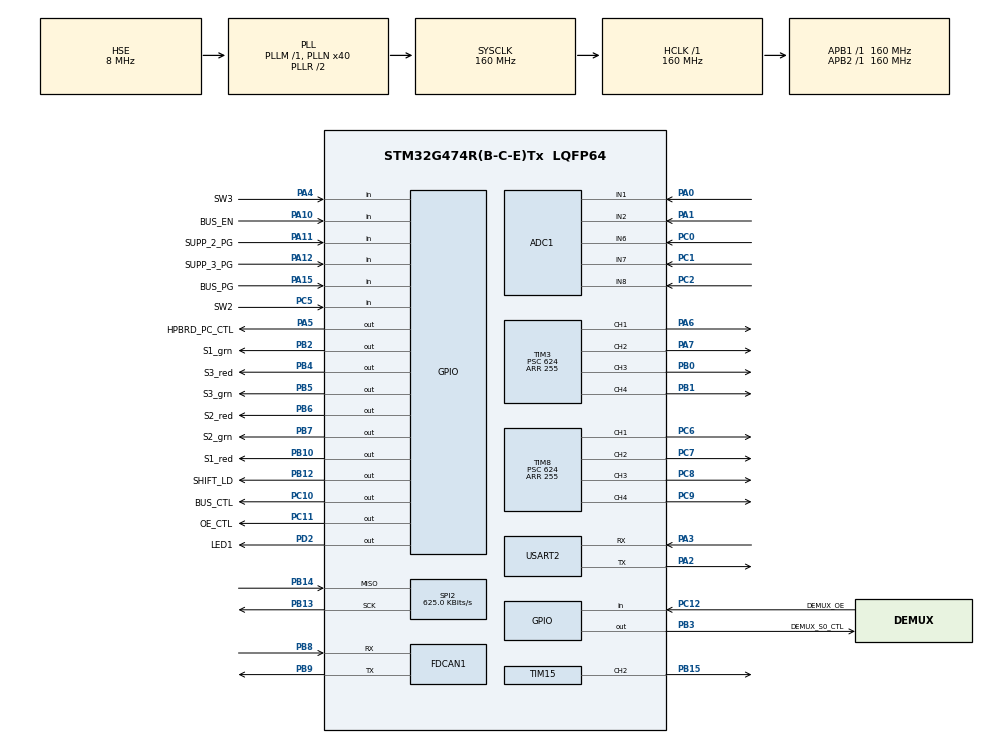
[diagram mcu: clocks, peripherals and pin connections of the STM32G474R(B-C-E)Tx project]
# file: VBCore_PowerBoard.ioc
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ADC1.Channel-0\#ChannelRegularConversion=ADC_CHANNEL_1
ADC1.Channel-1\#ChannelRegularConversion=ADC_CHANNEL_2
ADC1.Channel-2\#ChannelRegularConversion=ADC_CHANNEL_6
ADC1.Channel-3\#ChannelRegularConversion=ADC_CHANNEL_7
ADC1.Channel-4\#ChannelRegularConversion=ADC_CHANNEL_8
ADC1.ClockPrescaler=ADC_CLOCK_ASYNC_DIV128
ADC1.ContinuousConvMode=ENABLE
ADC1.DMAContinuousRequests=ENABLE
ADC1.EOCSelection=ADC_EOC_SEQ_CONV
ADC1.NbrOfConversion=5
ADC1.NbrOfConversionFlag=1
ADC1.OffsetNumber-0\#ChannelRegularConversion=ADC_OFFSET_NONE
ADC1.OffsetNumber-1\#ChannelRegularConversion=ADC_OFFSET_NONE
ADC1.OffsetNumber-2\#ChannelRegularConversion=ADC_OFFSET_NONE
ADC1.OffsetNumber-3\#ChannelRegularConversion=ADC_OFFSET_NONE
ADC1.OffsetNumber-4\#ChannelRegularConversion=ADC_OFFSET_NONE
ADC1.Overrun=ADC_OVR_DATA_OVERWRITTEN
ADC1.OversamplingMode=DISABLE
ADC1.Rank-0\#ChannelRegularConversion=1
ADC1.Rank-1\#ChannelRegularConversion=2
ADC1.Rank-2\#ChannelRegularConversion=3
ADC1.Rank-3\#ChannelRegularConversion=4
ADC1.Rank-4\#ChannelRegularConversion=5
ADC1.SamplingTime-0\#ChannelRegularConversion=ADC_SAMPLETIME_24CYCLES_5
ADC1.SamplingTime-1\#ChannelRegularConversion=ADC_SAMPLETIME_24CYCLES_5
ADC1.SamplingTime-2\#ChannelRegularConversion=ADC_SAMPLETIME_24CYCLES_5
ADC1.SamplingTime-3\#ChannelRegularConversion=ADC_SAMPLETIME_24CYCLES_5
ADC1.SamplingTime-4\#ChannelRegularConversion=ADC_SAMPLETIME_24CYCLES_5
ADC1.master=1
Dma.ADC1.0.Direction=DMA_PERIPH_TO_MEMORY
Dma.ADC1.0.EventEnable=DISABLE
Dma.ADC1.0.Instance=DMA1_Channel1
Dma.ADC1.0.MemDataAlignment=DMA_MDATAALIGN_WORD
Dma.ADC1.0.MemInc=DMA_MINC_ENABLE
Dma.ADC1.0.Mode=DMA_CIRCULAR
Dma.ADC1.0.PeriphDataAlignment=DMA_PDATAALIGN_WORD
Dma.ADC1.0.PeriphInc=DMA_PINC_DISABLE
Dma.ADC1.0.Polarity=HAL_DMAMUX_REQ_GEN_RISING
Dma.ADC1.0.Priority=DMA_PRIORITY_LOW
Dma.ADC1.0.RequestNumber=1
Dma.ADC1.0.SignalID=NONE
Dma.ADC1.0.SyncEnable=DISABLE
Dma.ADC1.0.SyncPolarity=HAL_DMAMUX_SYNC_NO_EVENT
Dma.ADC1.0.SyncRequestNumber=1
Dma.ADC1.0.SyncSignalID=NONE
Dma.Request0=ADC1
Dma.Request1=USART2_TX
Dma.Request2=USART2_RX
Dma.USART2_RX.2.Direction=DMA_PERIPH_TO_MEMORY
Dma.USART2_RX.2.EventEnable=DISABLE
Dma.USART2_RX.2.Instance=DMA1_Channel3
Dma.USART2_RX.2.MemDataAlignment=DMA_MDATAALIGN_BYTE
Dma.USART2_RX.2.MemInc=DMA_MINC_ENABLE
Dma.USART2_RX.2.Mode=DMA_NORMAL
Dma.USART2_RX.2.PeriphDataAlignment=DMA_PDATAALIGN_BYTE
Dma.USART2_RX.2.PeriphInc=DMA_PINC_DISABLE
Dma.USART2_RX.2.Polarity=HAL_DMAMUX_REQ_GEN_RISING
Dma.USART2_RX.2.Priority=DMA_PRIORITY_HIGH
Dma.USART2_RX.2.RequestNumber=1
Dma.USART2_RX.2.SignalID=NONE
Dma.USART2_RX.2.SyncEnable=DISABLE
Dma.USART2_RX.2.SyncPolarity=HAL_DMAMUX_SYNC_NO_EVENT
Dma.USART2_RX.2.SyncRequestNumber=1
Dma.USART2_RX.2.SyncSignalID=NONE
Dma.USART2_TX.1.Direction=DMA_MEMORY_TO_PERIPH
Dma.USART2_TX.1.EventEnable=DISABLE
Dma.USART2_TX.1.Instance=DMA1_Channel2
Dma.USART2_TX.1.MemDataAlignment=DMA_MDATAALIGN_BYTE
Dma.USART2_TX.1.MemInc=DMA_MINC_ENABLE
Dma.USART2_TX.1.Mode=DMA_NORMAL
Dma.USART2_TX.1.PeriphDataAlignment=DMA_PDATAALIGN_BYTE
Dma.USART2_TX.1.PeriphInc=DMA_PINC_DISABLE
Dma.USART2_TX.1.Polarity=HAL_DMAMUX_REQ_GEN_RISING
Dma.USART2_TX.1.Priority=DMA_PRIORITY_MEDIUM
Dma.USART2_TX.1.RequestNumber=1
Dma.USART2_TX.1.SignalID=NONE
Dma.USART2_TX.1.SyncEnable=DISABLE
Dma.USART2_TX.1.SyncPolarity=HAL_DMAMUX_SYNC_NO_EVENT
Dma.USART2_TX.1.SyncRequestNumber=1
Dma.USART2_TX.1.SyncSignalID=NONE
FDCAN1.AutoRetransmission=ENABLE
FDCAN1.CalculateBaudRateNominal=1000000
FDCAN1.CalculateTimeBitNominal=1000
FDCAN1.CalculateTimeQuantumNominal=12.5
FDCAN1.ClockDivider=FDCAN_CLOCK_DIV2
FDCAN1.DataPrescaler=1
FDCAN1.DataSyncJumpWidth=4
FDCAN1.DataTimeSeg1=5
FDCAN1.DataTimeSeg2=4
FDCAN1.ExtFiltersNbr=4
FDCAN1.FrameFormat=FDCAN_FRAME_FD_BRS
FDCAN1.NominalPrescaler=1
FDCAN1.NominalSyncJumpWidth=24
FDCAN1.NominalTimeSeg1=55
FDCAN1.NominalTimeSeg2=24
FDCAN1.TransmitPause=ENABLE
IWDG.Reload=55
Mcu.Family=STM32G4
Mcu.Name=STM32G474R(B-C-E)Tx
Mcu.Package=LQFP64
NVIC.DMA1_Channel1_IRQn=true\:3\:0\:true\:false\:true\:false\:true\:true
NVIC.DMA1_Channel2_IRQn=true\:3\:0\:true\:false\:true\:false\:true\:true
NVIC.DMA1_Channel3_IRQn=true\:3\:0\:true\:false\:true\:false\:true\:true
NVIC.PriorityGroup=NVIC_PRIORITYGROUP_4
NVIC.TIM1_UP_TIM16_IRQn=true\:2\:0\:true\:false\:true\:true\:true\:true
NVIC.TIM6_DAC_IRQn=true\:1\:0\:true\:false\:true\:true\:true\:true
NVIC.TIM7_DAC_IRQn=true\:0\:0\:false\:false\:true\:true\:true\:true
NVIC.USART2_IRQn=true\:4\:0\:true\:false\:true\:true\:true\:true
PA0.Mode=IN1-Single-Ended
PA0.Signal=ADC1_IN1
PA1.Mode=IN2-Single-Ended
PA1.Signal=ADC1_IN2
PA10.GPIO_Label=BUS_EN
PA10.Signal=GPIO_Input
PA11.GPIO_Label=SUPP_2_PG
PA11.GPIO_PuPd=GPIO_PULLUP
PA11.Signal=GPIO_Input
PA12.GPIO_Label=SUPP_3_PG
PA12.GPIO_PuPd=GPIO_PULLUP
PA12.Signal=GPIO_Input
PA13.Mode=Serial_Wire
PA13.Signal=SYS_JTMS-SWDIO
PA14.Mode=Serial_Wire
PA14.Signal=SYS_JTCK-SWCLK
PA15.GPIO_Label=BUS_PG
PA15.GPIO_PuPd=GPIO_PULLUP
PA15.Signal=GPIO_Input
PA2.Mode=Asynchronous
PA2.Signal=USART2_TX
PA3.Mode=Asynchronous
PA3.Signal=USART2_RX
PA4.GPIO_Label=SW3
PA4.GPIO_PuPd=GPIO_PULLUP
PA4.Signal=GPIO_Input
PA5.GPIO_Label=HPBRD_PC_CTL
PA5.Signal=GPIO_Output
PA6.Signal=S_TIM3_CH1
PA7.Signal=S_TIM3_CH2
PB0.Signal=S_TIM3_CH3
PB1.Signal=S_TIM3_CH4
PB10.GPIO_Label=S1_red
PB10.Signal=GPIO_Output
PB12.GPIO_Label=SHIFT_LD
PB12.Signal=GPIO_Output
PB13.GPIO_PuPd=GPIO_PULLUP
PB13.Mode=RX_Only_Simplex_Unidirect_Master
PB13.Signal=SPI2_SCK
PB14.GPIO_PuPd=GPIO_NOPULL
PB14.Mode=RX_Only_Simplex_Unidirect_Master
PB14.Signal=SPI2_MISO
PB15.Signal=S_TIM15_CH2
PB2.GPIO_Label=S1_grn
PB2.Signal=GPIO_Output
PB3.GPIO_Label=DEMUX_S0_CTL
PB3.Signal=GPIO_Output
PB4.GPIO_Label=S3_red
PB4.Signal=GPIO_Output
PB5.GPIO_Label=S3_grn
PB5.Signal=GPIO_Output
PB6.GPIO_Label=S2_red
PB6.Signal=GPIO_Output
PB7.GPIO_Label=S2_grn
PB7.Signal=GPIO_Output
PB8-BOOT0.Mode=FDCAN_Activate
PB8-BOOT0.Signal=FDCAN1_RX
PB9.Mode=FDCAN_Activate
PB9.Signal=FDCAN1_TX
PC0.Mode=IN6-Single-Ended
PC0.Signal=ADC1_IN6
PC1.Mode=IN7-Single-Ended
PC1.Signal=ADC1_IN7
PC10.GPIO_Label=BUS_CTL
PC10.Signal=GPIO_Output
PC11.GPIO_Label=OE_CTL
PC11.Signal=GPIO_Output
PC12.GPIO_Label=DEMUX_OE
PC12.Signal=GPIO_Input
PC2.Mode=IN8-Single-Ended
PC2.Signal=ADC1_IN8
PC5.GPIO_Label=SW2
PC5.GPIO_PuPd=GPIO_PULLUP
PC5.Signal=GPIO_Input
PC6.Signal=S_TIM8_CH1
PC7.Signal=S_TIM8_CH2
PC8.Signal=S_TIM8_CH3
PC9.Signal=S_TIM8_CH4
PD2.GPIO_Label=LED1
PD2.Signal=GPIO_Output
PF0-OSC_IN.Mode=HSE-External-Oscillator
PF0-OSC_IN.Signal=RCC_OSC_IN
PF1-OSC_OUT.Mode=HSE-External-Oscillator
PF1-OSC_OUT.Signal=RCC_OSC_OUT
ProjectManager.HeapSize=0x2000
ProjectManager.StackSize=0x4000
ProjectManager.TargetToolchain=CMake
RCC.ADC12Freq_Value=160000000
RCC.ADC345Freq_Value=160000000
RCC.AHBFreq_Value=160000000
RCC.APB1Freq_Value=160000000
RCC.APB1TimFreq_Value=160000000
RCC.APB2Freq_Value=160000000
RCC.APB2TimFreq_Value=160000000
RCC.CortexFreq_Value=160000000
RCC.EXTERNAL_CLOCK_VALUE=12288000
RCC.HCLKFreq_Value=160000000
RCC.HSE_VALUE=8000000
RCC.HSI48_VALUE=48000000
RCC.HSI_VALUE=16000000
RCC.LSE_VALUE=32768
RCC.PLLN=40
RCC.PLLSourceVirtual=RCC_PLLSOURCE_HSE
RCC.SYSCLKFreq_VALUE=160000000
RCC.SYSCLKSource=RCC_SYSCLKSOURCE_PLLCLK
RCC.USBFreq_Value=160000000
RCC.VCOOutputFreq_Value=320000000
SH.S_TIM15_CH2.0=TIM15_CH2,PWM Generation2 CH2
SH.S_TIM3_CH1.0=TIM3_CH1,PWM Generation1 CH1
SH.S_TIM3_CH2.0=TIM3_CH2,PWM Generation2 CH2
SH.S_TIM3_CH3.0=TIM3_CH3,PWM Generation3 CH3
SH.S_TIM3_CH4.0=TIM3_CH4,PWM Generation4 CH4
SH.S_TIM8_CH1.0=TIM8_CH1,PWM Generation1 CH1
SH.S_TIM8_CH2.0=TIM8_CH2,PWM Generation2 CH2
SH.S_TIM8_CH3.0=TIM8_CH3,PWM Generation3 CH3
SH.S_TIM8_CH4.0=TIM8_CH4,PWM Generation4 CH4
SPI2.BaudRatePrescaler=SPI_BAUDRATEPRESCALER_256
SPI2.CLKPhase=SPI_PHASE_1EDGE
SPI2.CLKPolarity=SPI_POLARITY_HIGH
SPI2.CalculateBaudRate=625.0 KBits/s
SPI2.DataSize=SPI_DATASIZE_8BIT
SPI2.Direction=SPI_DIRECTION_2LINES_RXONLY
SPI2.FirstBit=SPI_FIRSTBIT_LSB
SPI2.Mode=SPI_MODE_MASTER
SPI2.VirtualType=VM_MASTER
TIM1.PeriodNoDither=1000-1
TIM1.Prescaler=16000-1
TIM15.Channel-PWM\ Generation2\ CH2=TIM_CHANNEL_2
TIM15.PeriodNoDither=255
TIM15.Prescaler=624
TIM15.PulseNoDither_2=20
TIM16.PeriodNoDither=4999
TIM16.Prescaler=159
TIM3.Channel-PWM\ Generation1\ CH1=TIM_CHANNEL_1
TIM3.Channel-PWM\ Generation2\ CH2=TIM_CHANNEL_2
TIM3.Channel-PWM\ Generation3\ CH3=TIM_CHANNEL_3
TIM3.Channel-PWM\ Generation4\ CH4=TIM_CHANNEL_4
TIM3.PeriodNoDither=255
TIM3.Prescaler=624
TIM6.PeriodNoDither=4999
TIM6.Prescaler=159
TIM7.PeriodNoDither=49999
TIM7.Prescaler=159
TIM8.Channel-PWM\ Generation1\ CH1=TIM_CHANNEL_1
TIM8.Channel-PWM\ Generation2\ CH2=TIM_CHANNEL_2
TIM8.Channel-PWM\ Generation3\ CH3=TIM_CHANNEL_3
TIM8.Channel-PWM\ Generation4\ CH4=TIM_CHANNEL_4
TIM8.PeriodNoDither=255
TIM8.Prescaler=624
USART2.VirtualMode-Asynchronous=VM_ASYNC
VP_IWDG_VS_IWDG.Mode=IWDG_Activate
VP_SYS_VS_DBSignals.Mode=DisableDeadBatterySignals
VP_TIM16_VS_ClockSourceINT.Mode=Enable_Timer
VP_TIM1_VS_ClockSourceINT.Mode=Internal
VP_TIM6_VS_ClockSourceINT.Mode=Enable_Timer
VP_TIM7_VS_ClockSourceINT.Mode=Enable_Timer
board=custom

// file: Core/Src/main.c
/* USER CODE BEGIN Header */
/**
  ******************************************************************************
  * @file           : main.c
  * @brief          : Main program body
  ******************************************************************************
  * @attention
  *
  * Copyright (c) 2023 STMicroelectronics.
  * All rights reserved.
  *
  * This software is licensed under terms that can be found in the LICENSE file
  * in the root directory of this software component.
  * If no LICENSE file comes with this software, it is provided AS-IS.
  *
  ******************************************************************************
  */
/* USER CODE END Header */
#include "main.h"

/* USER CODE BEGIN Includes */
#include <stdio.h>
#include <stdarg.h>
#include <stdbool.h>
#include "power.h"
#include "battery_config.h"
/* USER CODE END Includes */

ADC_HandleTypeDef hadc1;
DMA_HandleTypeDef hdma_adc1;

FDCAN_HandleTypeDef hfdcan1;

IWDG_HandleTypeDef hiwdg;

SPI_HandleTypeDef hspi2;

TIM_HandleTypeDef htim1;
TIM_HandleTypeDef htim3;
TIM_HandleTypeDef htim6;
TIM_HandleTypeDef htim7;
TIM_HandleTypeDef htim8;
TIM_HandleTypeDef htim15;
TIM_HandleTypeDef htim16;

UART_HandleTypeDef huart2;
DMA_HandleTypeDef hdma_usart2_tx;
DMA_HandleTypeDef hdma_usart2_rx;

/* USER CODE BEGIN PV */
uint64_t TIM7_ITs = 0; // counter of microseconds time-source ITs

/********** User accessible variables **********/
uint8_t prime = 0; // selected power source variable. RW

uint8_t pc_enable = 1; // PC power bus control. RW
uint8_t bus_enable = 1; // main power bus control. RW

uint8_t pc_stat = 1; // PC power bus status. RO
uint8_t bus_stat = 1; // main power bus status. RO
uint8_t emergency_stat = 0; // flag indicating the emergency button is pressed. RO

uint8_t buzzer_mutex = 0;
uint64_t buzzer_pulse_stamp = 0;
uint64_t buzzer_period_stamp = 0;
/* USER CODE END PV */

void SystemClock_Config(void);
static void MX_GPIO_Init(void);
static void MX_DMA_Init(void);
static void MX_ADC1_Init(void);
static void MX_TIM6_Init(void);
static void MX_TIM7_Init(void);
static void MX_TIM16_Init(void);
static void MX_USART2_UART_Init(void);
static void MX_SPI2_Init(void);
static void MX_TIM3_Init(void);
static void MX_TIM8_Init(void);
static void MX_TIM15_Init(void);
static void MX_IWDG_Init(void);
static void MX_FDCAN1_Init(void);
static void MX_TIM1_Init(void);

/* USER CODE BEGIN 0 */

// this function runs once
__weak void user_setup(void)
{

}

// this function runs in an infinite loop
__weak void user_spin(void)
{

}
/* USER CODE END 0 */

int main(void)
{

  /* MCU Configuration--------------------------------------------------------*/

  /* Reset of all peripherals, Initializes the Flash interface and the Systick. */
  HAL_Init();

  /* Configure the system clock */
  SystemClock_Config();

  /* Initialize all configured peripherals */
  MX_GPIO_Init();
  MX_DMA_Init();
  MX_ADC1_Init();
  MX_TIM6_Init();
  MX_TIM7_Init();
  MX_TIM16_Init();
  MX_USART2_UART_Init();
  MX_SPI2_Init();
  MX_TIM3_Init();
  MX_TIM8_Init();
  MX_TIM15_Init();
  MX_IWDG_Init();
  MX_TIM1_Init();
  /* USER CODE BEGIN 2 */

  __HAL_FLASH_SET_LATENCY(FLASH_LATENCY_4);
  while (__HAL_FLASH_GET_LATENCY() != FLASH_LATENCY_4) {}

  HAL_TIM_Base_Start_IT(&htim7); // enable microseconds time-source. DO NOT MODIFY!
  load_config(); // load power config from FLASH. DO NOT MODIFY!
  MX_FDCAN1_Init();
  power_setup(); // configuration of power sources control. DO NOT MODIFY!

  // enable user IO periphery
  HAL_TIM_PWM_Start(&htim3, TIM_CHANNEL_1);
  HAL_TIM_PWM_Start(&htim3, TIM_CHANNEL_2);
  HAL_TIM_PWM_Start(&htim3, TIM_CHANNEL_3);
  HAL_TIM_PWM_Start(&htim3, TIM_CHANNEL_4);

  HAL_TIM_PWM_Start(&htim8, TIM_CHANNEL_1);
  HAL_TIM_PWM_Start(&htim8, TIM_CHANNEL_2);
  HAL_TIM_PWM_Start(&htim8, TIM_CHANNEL_3);
  HAL_TIM_PWM_Start(&htim8, TIM_CHANNEL_4);

  user_setup();
  /* USER CODE END 2 */

  /* Infinite loop */
  /* USER CODE BEGIN WHILE */
  while (1)
  {
    user_spin();

    /* USER CODE END WHILE */

  }
}

void SystemClock_Config(void)
{
  RCC_OscInitTypeDef RCC_OscInitStruct = {0};
  RCC_ClkInitTypeDef RCC_ClkInitStruct = {0};

  /** Configure the main internal regulator output voltage
  */
  HAL_PWREx_ControlVoltageScaling(PWR_REGULATOR_VOLTAGE_SCALE1_BOOST);

  /** Initializes the RCC Oscillators according to the specified parameters
  * in the RCC_OscInitTypeDef structure.
  */
  RCC_OscInitStruct.OscillatorType = RCC_OSCILLATORTYPE_LSI|RCC_OSCILLATORTYPE_HSE;
  RCC_OscInitStruct.HSEState = RCC_HSE_ON;
  RCC_OscInitStruct.LSIState = RCC_LSI_ON;
  RCC_OscInitStruct.PLL.PLLState = RCC_PLL_ON;
  RCC_OscInitStruct.PLL.PLLSource = RCC_PLLSOURCE_HSE;
  RCC_OscInitStruct.PLL.PLLM = RCC_PLLM_DIV1;
  RCC_OscInitStruct.PLL.PLLN = 40;
  RCC_OscInitStruct.PLL.PLLP = RCC_PLLP_DIV2;
  RCC_OscInitStruct.PLL.PLLQ = RCC_PLLQ_DIV2;
  RCC_OscInitStruct.PLL.PLLR = RCC_PLLR_DIV2;
  if (HAL_RCC_OscConfig(&RCC_OscInitStruct) != HAL_OK)
  {
    Error_Handler();
  }

  /** Initializes the CPU, AHB and APB buses clocks
  */
  RCC_ClkInitStruct.ClockType = RCC_CLOCKTYPE_HCLK|RCC_CLOCKTYPE_SYSCLK
                              |RCC_CLOCKTYPE_PCLK1|RCC_CLOCKTYPE_PCLK2;
  RCC_ClkInitStruct.SYSCLKSource = RCC_SYSCLKSOURCE_PLLCLK;
  RCC_ClkInitStruct.AHBCLKDivider = RCC_SYSCLK_DIV1;
  RCC_ClkInitStruct.APB1CLKDivider = RCC_HCLK_DIV1;
  RCC_ClkInitStruct.APB2CLKDivider = RCC_HCLK_DIV1;

  if (HAL_RCC_ClockConfig(&RCC_ClkInitStruct, FLASH_LATENCY_4) != HAL_OK)
  {
    Error_Handler();
  }
}

static void MX_ADC1_Init(void)
{

  ADC_MultiModeTypeDef multimode = {0};
  ADC_ChannelConfTypeDef sConfig = {0};

  /** Common config
  */
  hadc1.Instance = ADC1;
  hadc1.Init.ClockPrescaler = ADC_CLOCK_ASYNC_DIV128;
  hadc1.Init.Resolution = ADC_RESOLUTION_12B;
  hadc1.Init.DataAlign = ADC_DATAALIGN_RIGHT;
  hadc1.Init.GainCompensation = 0;
  hadc1.Init.ScanConvMode = ADC_SCAN_ENABLE;
  hadc1.Init.EOCSelection = ADC_EOC_SEQ_CONV;
  hadc1.Init.LowPowerAutoWait = DISABLE;
  hadc1.Init.ContinuousConvMode = ENABLE;
  hadc1.Init.NbrOfConversion = 5;
  hadc1.Init.DiscontinuousConvMode = DISABLE;
  hadc1.Init.ExternalTrigConv = ADC_SOFTWARE_START;
  hadc1.Init.ExternalTrigConvEdge = ADC_EXTERNALTRIGCONVEDGE_NONE;
  hadc1.Init.DMAContinuousRequests = ENABLE;
  hadc1.Init.Overrun = ADC_OVR_DATA_OVERWRITTEN;
  hadc1.Init.OversamplingMode = DISABLE;
  if (HAL_ADC_Init(&hadc1) != HAL_OK)
  {
    Error_Handler();
  }

  /** Configure the ADC multi-mode
  */
  multimode.Mode = ADC_MODE_INDEPENDENT;
  if (HAL_ADCEx_MultiModeConfigChannel(&hadc1, &multimode) != HAL_OK)
  {
    Error_Handler();
  }

  /** Configure Regular Channel
  */
  sConfig.Channel = ADC_CHANNEL_1;
  sConfig.Rank = ADC_REGULAR_RANK_1;
  sConfig.SamplingTime = ADC_SAMPLETIME_24CYCLES_5;
  sConfig.SingleDiff = ADC_SINGLE_ENDED;
  sConfig.OffsetNumber = ADC_OFFSET_NONE;
  sConfig.Offset = 0;
  if (HAL_ADC_ConfigChannel(&hadc1, &sConfig) != HAL_OK)
  {
    Error_Handler();
  }

  /** Configure Regular Channel
  */
  sConfig.Channel = ADC_CHANNEL_2;
  sConfig.Rank = ADC_REGULAR_RANK_2;
  if (HAL_ADC_ConfigChannel(&hadc1, &sConfig) != HAL_OK)
  {
    Error_Handler();
  }

  /** Configure Regular Channel
  */
  sConfig.Channel = ADC_CHANNEL_6;
  sConfig.Rank = ADC_REGULAR_RANK_3;
  if (HAL_ADC_ConfigChannel(&hadc1, &sConfig) != HAL_OK)
  {
    Error_Handler();
  }

  /** Configure Regular Channel
  */
  sConfig.Channel = ADC_CHANNEL_7;
  sConfig.Rank = ADC_REGULAR_RANK_4;
  if (HAL_ADC_ConfigChannel(&hadc1, &sConfig) != HAL_OK)
  {
    Error_Handler();
  }

  /** Configure Regular Channel
  */
  sConfig.Channel = ADC_CHANNEL_8;
  sConfig.Rank = ADC_REGULAR_RANK_5;
  if (HAL_ADC_ConfigChannel(&hadc1, &sConfig) != HAL_OK)
  {
    Error_Handler();
  }

}

static void MX_FDCAN1_Init(void)
{

  /* USER CODE BEGIN FDCAN1_Init 1 */
  hfdcan1.Init.NominalPrescaler = get_nom_prescaler();
  hfdcan1.Init.DataPrescaler = get_data_prescaler();
  /* USER CODE END FDCAN1_Init 1 */
  hfdcan1.Instance = FDCAN1;
  hfdcan1.Init.ClockDivider = FDCAN_CLOCK_DIV2;
  hfdcan1.Init.FrameFormat = FDCAN_FRAME_FD_BRS;
  hfdcan1.Init.Mode = FDCAN_MODE_NORMAL;
  hfdcan1.Init.AutoRetransmission = ENABLE;
  hfdcan1.Init.TransmitPause = ENABLE;
  hfdcan1.Init.ProtocolException = DISABLE;
  hfdcan1.Init.NominalSyncJumpWidth = 24;
  hfdcan1.Init.NominalTimeSeg1 = 55;
  hfdcan1.Init.NominalTimeSeg2 = 24;
  hfdcan1.Init.DataSyncJumpWidth = 4;
  hfdcan1.Init.DataTimeSeg1 = 5;
  hfdcan1.Init.DataTimeSeg2 = 4;
  hfdcan1.Init.StdFiltersNbr = 0;
  hfdcan1.Init.ExtFiltersNbr = 4;
  hfdcan1.Init.TxFifoQueueMode = FDCAN_TX_FIFO_OPERATION;
  if (HAL_FDCAN_Init(&hfdcan1) != HAL_OK)
  {
    Error_Handler();
  }

}

static void MX_IWDG_Init(void)
{

  hiwdg.Instance = IWDG;
  hiwdg.Init.Prescaler = IWDG_PRESCALER_4;
  hiwdg.Init.Window = 4095;
  hiwdg.Init.Reload = 55;
  if (HAL_IWDG_Init(&hiwdg) != HAL_OK)
  {
    Error_Handler();
  }

}

static void MX_SPI2_Init(void)
{

  /* SPI2 parameter configuration*/
  hspi2.Instance = SPI2;
  hspi2.Init.Mode = SPI_MODE_MASTER;
  hspi2.Init.Direction = SPI_DIRECTION_2LINES_RXONLY;
  hspi2.Init.DataSize = SPI_DATASIZE_8BIT;
  hspi2.Init.CLKPolarity = SPI_POLARITY_HIGH;
  hspi2.Init.CLKPhase = SPI_PHASE_1EDGE;
  hspi2.Init.NSS = SPI_NSS_SOFT;
  hspi2.Init.BaudRatePrescaler = SPI_BAUDRATEPRESCALER_256;
  hspi2.Init.FirstBit = SPI_FIRSTBIT_LSB;
  hspi2.Init.TIMode = SPI_TIMODE_DISABLE;
  hspi2.Init.CRCCalculation = SPI_CRCCALCULATION_DISABLE;
  hspi2.Init.CRCPolynomial = 7;
  hspi2.Init.CRCLength = SPI_CRC_LENGTH_DATASIZE;
  hspi2.Init.NSSPMode = SPI_NSS_PULSE_ENABLE;
  if (HAL_SPI_Init(&hspi2) != HAL_OK)
  {
    Error_Handler();
  }

}

static void MX_TIM1_Init(void)
{

  TIM_ClockConfigTypeDef sClockSourceConfig = {0};
  TIM_MasterConfigTypeDef sMasterConfig = {0};

  htim1.Instance = TIM1;
  htim1.Init.Prescaler = 16000-1;
  htim1.Init.CounterMode = TIM_COUNTERMODE_UP;
  htim1.Init.Period = 999;
  htim1.Init.ClockDivision = TIM_CLOCKDIVISION_DIV1;
  htim1.Init.RepetitionCounter = 0;
  htim1.Init.AutoReloadPreload = TIM_AUTORELOAD_PRELOAD_DISABLE;
  if (HAL_TIM_Base_Init(&htim1) != HAL_OK)
  {
    Error_Handler();
  }
  sClockSourceConfig.ClockSource = TIM_CLOCKSOURCE_INTERNAL;
  if (HAL_TIM_ConfigClockSource(&htim1, &sClockSourceConfig) != HAL_OK)
  {
    Error_Handler();
  }
  sMasterConfig.MasterOutputTrigger = TIM_TRGO_RESET;
  sMasterConfig.MasterOutputTrigger2 = TIM_TRGO2_RESET;
  sMasterConfig.MasterSlaveMode = TIM_MASTERSLAVEMODE_DISABLE;
  if (HAL_TIMEx_MasterConfigSynchronization(&htim1, &sMasterConfig) != HAL_OK)
  {
    Error_Handler();
  }

}

static void MX_TIM3_Init(void)
{

  TIM_MasterConfigTypeDef sMasterConfig = {0};
  TIM_OC_InitTypeDef sConfigOC = {0};

  htim3.Instance = TIM3;
  htim3.Init.Prescaler = 624;
  htim3.Init.CounterMode = TIM_COUNTERMODE_UP;
  htim3.Init.Period = 255;
  htim3.Init.ClockDivision = TIM_CLOCKDIVISION_DIV1;
  htim3.Init.AutoReloadPreload = TIM_AUTORELOAD_PRELOAD_DISABLE;
  if (HAL_TIM_PWM_Init(&htim3) != HAL_OK)
  {
    Error_Handler();
  }
  sMasterConfig.MasterOutputTrigger = TIM_TRGO_RESET;
  sMasterConfig.MasterSlaveMode = TIM_MASTERSLAVEMODE_DISABLE;
  if (HAL_TIMEx_MasterConfigSynchronization(&htim3, &sMasterConfig) != HAL_OK)
  {
    Error_Handler();
  }
  sConfigOC.OCMode = TIM_OCMODE_PWM1;
  sConfigOC.Pulse = 0;
  sConfigOC.OCPolarity = TIM_OCPOLARITY_HIGH;
  sConfigOC.OCFastMode = TIM_OCFAST_DISABLE;
  if (HAL_TIM_PWM_ConfigChannel(&htim3, &sConfigOC, TIM_CHANNEL_1) != HAL_OK)
  {
    Error_Handler();
  }
  if (HAL_TIM_PWM_ConfigChannel(&htim3, &sConfigOC, TIM_CHANNEL_2) != HAL_OK)
  {
    Error_Handler();
  }
  if (HAL_TIM_PWM_ConfigChannel(&htim3, &sConfigOC, TIM_CHANNEL_3) != HAL_OK)
  {
    Error_Handler();
  }
  if (HAL_TIM_PWM_ConfigChannel(&htim3, &sConfigOC, TIM_CHANNEL_4) != HAL_OK)
  {
    Error_Handler();
  }
  HAL_TIM_MspPostInit(&htim3);

}

static void MX_TIM6_Init(void)
{

  TIM_MasterConfigTypeDef sMasterConfig = {0};

  htim6.Instance = TIM6;
  htim6.Init.Prescaler = 159;
  htim6.Init.CounterMode = TIM_COUNTERMODE_UP;
  htim6.Init.Period = 4999;
  htim6.Init.AutoReloadPreload = TIM_AUTORELOAD_PRELOAD_DISABLE;
  if (HAL_TIM_Base_Init(&htim6) != HAL_OK)
  {
    Error_Handler();
  }
  sMasterConfig.MasterOutputTrigger = TIM_TRGO_RESET;
  sMasterConfig.MasterSlaveMode = TIM_MASTERSLAVEMODE_DISABLE;
  if (HAL_TIMEx_MasterConfigSynchronization(&htim6, &sMasterConfig) != HAL_OK)
  {
    Error_Handler();
  }

}

static void MX_TIM7_Init(void)
{

  TIM_MasterConfigTypeDef sMasterConfig = {0};

  htim7.Instance = TIM7;
  htim7.Init.Prescaler = 159;
  htim7.Init.CounterMode = TIM_COUNTERMODE_UP;
  htim7.Init.Period = 49999;
  htim7.Init.AutoReloadPreload = TIM_AUTORELOAD_PRELOAD_DISABLE;
  if (HAL_TIM_Base_Init(&htim7) != HAL_OK)
  {
    Error_Handler();
  }
  sMasterConfig.MasterOutputTrigger = TIM_TRGO_RESET;
  sMasterConfig.MasterSlaveMode = TIM_MASTERSLAVEMODE_DISABLE;
  if (HAL_TIMEx_MasterConfigSynchronization(&htim7, &sMasterConfig) != HAL_OK)
  {
    Error_Handler();
  }

}

static void MX_TIM8_Init(void)
{

  TIM_MasterConfigTypeDef sMasterConfig = {0};
  TIM_OC_InitTypeDef sConfigOC = {0};
  TIM_BreakDeadTimeConfigTypeDef sBreakDeadTimeConfig = {0};

  htim8.Instance = TIM8;
  htim8.Init.Prescaler = 624;
  htim8.Init.CounterMode = TIM_COUNTERMODE_UP;
  htim8.Init.Period = 255;
  htim8.Init.ClockDivision = TIM_CLOCKDIVISION_DIV1;
  htim8.Init.RepetitionCounter = 0;
  htim8.Init.AutoReloadPreload = TIM_AUTORELOAD_PRELOAD_DISABLE;
  if (HAL_TIM_PWM_Init(&htim8) != HAL_OK)
  {
    Error_Handler();
  }
  sMasterConfig.MasterOutputTrigger = TIM_TRGO_RESET;
  sMasterConfig.MasterOutputTrigger2 = TIM_TRGO2_RESET;
  sMasterConfig.MasterSlaveMode = TIM_MASTERSLAVEMODE_DISABLE;
  if (HAL_TIMEx_MasterConfigSynchronization(&htim8, &sMasterConfig) != HAL_OK)
  {
    Error_Handler();
  }
  sConfigOC.OCMode = TIM_OCMODE_PWM1;
  sConfigOC.Pulse = 0;
  sConfigOC.OCPolarity = TIM_OCPOLARITY_HIGH;
  sConfigOC.OCNPolarity = TIM_OCNPOLARITY_HIGH;
  sConfigOC.OCFastMode = TIM_OCFAST_DISABLE;
  sConfigOC.OCIdleState = TIM_OCIDLESTATE_RESET;
  sConfigOC.OCNIdleState = TIM_OCNIDLESTATE_RESET;
  if (HAL_TIM_PWM_ConfigChannel(&htim8, &sConfigOC, TIM_CHANNEL_1) != HAL_OK)
  {
    Error_Handler();
  }
  if (HAL_TIM_PWM_ConfigChannel(&htim8, &sConfigOC, TIM_CHANNEL_2) != HAL_OK)
  {
    Error_Handler();
  }
  if (HAL_TIM_PWM_ConfigChannel(&htim8, &sConfigOC, TIM_CHANNEL_3) != HAL_OK)
  {
    Error_Handler();
  }
  if (HAL_TIM_PWM_ConfigChannel(&htim8, &sConfigOC, TIM_CHANNEL_4) != HAL_OK)
  {
    Error_Handler();
  }
  sBreakDeadTimeConfig.OffStateRunMode = TIM_OSSR_DISABLE;
  sBreakDeadTimeConfig.OffStateIDLEMode = TIM_OSSI_DISABLE;
  sBreakDeadTimeConfig.LockLevel = TIM_LOCKLEVEL_OFF;
  sBreakDeadTimeConfig.DeadTime = 0;
  sBreakDeadTimeConfig.BreakState = TIM_BREAK_DISABLE;
  sBreakDeadTimeConfig.BreakPolarity = TIM_BREAKPOLARITY_HIGH;
  sBreakDeadTimeConfig.BreakFilter = 0;
  sBreakDeadTimeConfig.BreakAFMode = TIM_BREAK_AFMODE_INPUT;
  sBreakDeadTimeConfig.Break2State = TIM_BREAK2_DISABLE;
  sBreakDeadTimeConfig.Break2Polarity = TIM_BREAK2POLARITY_HIGH;
  sBreakDeadTimeConfig.Break2Filter = 0;
  sBreakDeadTimeConfig.Break2AFMode = TIM_BREAK_AFMODE_INPUT;
  sBreakDeadTimeConfig.AutomaticOutput = TIM_AUTOMATICOUTPUT_DISABLE;
  if (HAL_TIMEx_ConfigBreakDeadTime(&htim8, &sBreakDeadTimeConfig) != HAL_OK)
  {
    Error_Handler();
  }
  HAL_TIM_MspPostInit(&htim8);

}

static void MX_TIM15_Init(void)
{

  TIM_MasterConfigTypeDef sMasterConfig = {0};
  TIM_OC_InitTypeDef sConfigOC = {0};
  TIM_BreakDeadTimeConfigTypeDef sBreakDeadTimeConfig = {0};

  htim15.Instance = TIM15;
  htim15.Init.Prescaler = 624;
  htim15.Init.CounterMode = TIM_COUNTERMODE_UP;
  htim15.Init.Period = 255;
  htim15.Init.ClockDivision = TIM_CLOCKDIVISION_DIV1;
  htim15.Init.RepetitionCounter = 0;
  htim15.Init.AutoReloadPreload = TIM_AUTORELOAD_PRELOAD_DISABLE;
  if (HAL_TIM_PWM_Init(&htim15) != HAL_OK)
  {
    Error_Handler();
  }
  sMasterConfig.MasterOutputTrigger = TIM_TRGO_RESET;
  sMasterConfig.MasterSlaveMode = TIM_MASTERSLAVEMODE_DISABLE;
  if (HAL_TIMEx_MasterConfigSynchronization(&htim15, &sMasterConfig) != HAL_OK)
  {
    Error_Handler();
  }
  sConfigOC.OCMode = TIM_OCMODE_PWM1;
  sConfigOC.Pulse = 20;
  sConfigOC.OCPolarity = TIM_OCPOLARITY_HIGH;
  sConfigOC.OCNPolarity = TIM_OCNPOLARITY_HIGH;
  sConfigOC.OCFastMode = TIM_OCFAST_DISABLE;
  sConfigOC.OCIdleState = TIM_OCIDLESTATE_RESET;
  sConfigOC.OCNIdleState = TIM_OCNIDLESTATE_RESET;
  if (HAL_TIM_PWM_ConfigChannel(&htim15, &sConfigOC, TIM_CHANNEL_2) != HAL_OK)
  {
    Error_Handler();
  }
  sBreakDeadTimeConfig.OffStateRunMode = TIM_OSSR_DISABLE;
  sBreakDeadTimeConfig.OffStateIDLEMode = TIM_OSSI_DISABLE;
  sBreakDeadTimeConfig.LockLevel = TIM_LOCKLEVEL_OFF;
  sBreakDeadTimeConfig.DeadTime = 0;
  sBreakDeadTimeConfig.BreakState = TIM_BREAK_DISABLE;
  sBreakDeadTimeConfig.BreakPolarity = TIM_BREAKPOLARITY_HIGH;
  sBreakDeadTimeConfig.BreakFilter = 0;
  sBreakDeadTimeConfig.AutomaticOutput = TIM_AUTOMATICOUTPUT_DISABLE;
  if (HAL_TIMEx_ConfigBreakDeadTime(&htim15, &sBreakDeadTimeConfig) != HAL_OK)
  {
    Error_Handler();
  }
  HAL_TIM_MspPostInit(&htim15);

}

static void MX_TIM16_Init(void)
{

  htim16.Instance = TIM16;
  htim16.Init.Prescaler = 159;
  htim16.Init.CounterMode = TIM_COUNTERMODE_UP;
  htim16.Init.Period = 4999;
  htim16.Init.ClockDivision = TIM_CLOCKDIVISION_DIV1;
  htim16.Init.RepetitionCounter = 0;
  htim16.Init.AutoReloadPreload = TIM_AUTORELOAD_PRELOAD_DISABLE;
  if (HAL_TIM_Base_Init(&htim16) != HAL_OK)
  {
    Error_Handler();
  }

}

static void MX_USART2_UART_Init(void)
{

  huart2.Instance = USART2;
  huart2.Init.BaudRate = 115200;
  huart2.Init.WordLength = UART_WORDLENGTH_8B;
  huart2.Init.StopBits = UART_STOPBITS_1;
  huart2.Init.Parity = UART_PARITY_NONE;
  huart2.Init.Mode = UART_MODE_TX_RX;
  huart2.Init.HwFlowCtl = UART_HWCONTROL_NONE;
  huart2.Init.OverSampling = UART_OVERSAMPLING_16;
  huart2.Init.OneBitSampling = UART_ONE_BIT_SAMPLE_DISABLE;
  huart2.Init.ClockPrescaler = UART_PRESCALER_DIV1;
  huart2.AdvancedInit.AdvFeatureInit = UART_ADVFEATURE_NO_INIT;
  if (HAL_UART_Init(&huart2) != HAL_OK)
  {
    Error_Handler();
  }
  if (HAL_UARTEx_SetTxFifoThreshold(&huart2, UART_TXFIFO_THRESHOLD_1_8) != HAL_OK)
  {
    Error_Handler();
  }
  if (HAL_UARTEx_SetRxFifoThreshold(&huart2, UART_RXFIFO_THRESHOLD_1_8) != HAL_OK)
  {
    Error_Handler();
  }
  if (HAL_UARTEx_DisableFifoMode(&huart2) != HAL_OK)
  {
    Error_Handler();
  }

}

static void MX_DMA_Init(void)
{

  /* DMA controller clock enable */
  __HAL_RCC_DMAMUX1_CLK_ENABLE();
  __HAL_RCC_DMA1_CLK_ENABLE();

  /* DMA interrupt init */
  /* DMA1_Channel1_IRQn interrupt configuration */
  HAL_NVIC_SetPriority(DMA1_Channel1_IRQn, 3, 0);
  HAL_NVIC_EnableIRQ(DMA1_Channel1_IRQn);
  /* DMA1_Channel2_IRQn interrupt configuration */
  HAL_NVIC_SetPriority(DMA1_Channel2_IRQn, 3, 0);
  HAL_NVIC_EnableIRQ(DMA1_Channel2_IRQn);
  /* DMA1_Channel3_IRQn interrupt configuration */
  HAL_NVIC_SetPriority(DMA1_Channel3_IRQn, 3, 0);
  HAL_NVIC_EnableIRQ(DMA1_Channel3_IRQn);

}

static void MX_GPIO_Init(void)
{
  LL_GPIO_InitTypeDef GPIO_InitStruct = {0};

  /* GPIO Ports Clock Enable */
  LL_AHB2_GRP1_EnableClock(LL_AHB2_GRP1_PERIPH_GPIOF);
  LL_AHB2_GRP1_EnableClock(LL_AHB2_GRP1_PERIPH_GPIOC);
  LL_AHB2_GRP1_EnableClock(LL_AHB2_GRP1_PERIPH_GPIOA);
  LL_AHB2_GRP1_EnableClock(LL_AHB2_GRP1_PERIPH_GPIOB);
  LL_AHB2_GRP1_EnableClock(LL_AHB2_GRP1_PERIPH_GPIOD);

  /**/
  LL_GPIO_ResetOutputPin(HPBRD_PC_CTL_GPIO_Port, HPBRD_PC_CTL_Pin);

  /**/
  LL_GPIO_ResetOutputPin(S1_grn_GPIO_Port, S1_grn_Pin);

  /**/
  LL_GPIO_ResetOutputPin(S1_red_GPIO_Port, S1_red_Pin);

  /**/
  LL_GPIO_ResetOutputPin(SHIFT_LD_GPIO_Port, SHIFT_LD_Pin);

  /**/
  LL_GPIO_ResetOutputPin(BUS_CTL_GPIO_Port, BUS_CTL_Pin);

  /**/
  LL_GPIO_ResetOutputPin(OE_CTL_GPIO_Port, OE_CTL_Pin);

  /**/
  LL_GPIO_ResetOutputPin(LED1_GPIO_Port, LED1_Pin);

  /**/
  LL_GPIO_ResetOutputPin(DEMUX_S0_CTL_GPIO_Port, DEMUX_S0_CTL_Pin);

  /**/
  LL_GPIO_ResetOutputPin(S3_red_GPIO_Port, S3_red_Pin);

  /**/
  LL_GPIO_ResetOutputPin(S3_grn_GPIO_Port, S3_grn_Pin);

  /**/
  LL_GPIO_ResetOutputPin(S2_red_GPIO_Port, S2_red_Pin);

  /**/
  LL_GPIO_ResetOutputPin(S2_grn_GPIO_Port, S2_grn_Pin);

  /**/
  GPIO_InitStruct.Pin = SW3_Pin;
  GPIO_InitStruct.Mode = LL_GPIO_MODE_INPUT;
  GPIO_InitStruct.Pull = LL_GPIO_PULL_UP;
  LL_GPIO_Init(SW3_GPIO_Port, &GPIO_InitStruct);

  /**/
  GPIO_InitStruct.Pin = HPBRD_PC_CTL_Pin;
  GPIO_InitStruct.Mode = LL_GPIO_MODE_OUTPUT;
  GPIO_InitStruct.Speed = LL_GPIO_SPEED_FREQ_LOW;
  GPIO_InitStruct.OutputType = LL_GPIO_OUTPUT_PUSHPULL;
  GPIO_InitStruct.Pull = LL_GPIO_PULL_NO;
  LL_GPIO_Init(HPBRD_PC_CTL_GPIO_Port, &GPIO_InitStruct);

  /**/
  GPIO_InitStruct.Pin = SW2_Pin;
  GPIO_InitStruct.Mode = LL_GPIO_MODE_INPUT;
  GPIO_InitStruct.Pull = LL_GPIO_PULL_UP;
  LL_GPIO_Init(SW2_GPIO_Port, &GPIO_InitStruct);

  /**/
  GPIO_InitStruct.Pin = S1_grn_Pin;
  GPIO_InitStruct.Mode = LL_GPIO_MODE_OUTPUT;
  GPIO_InitStruct.Speed = LL_GPIO_SPEED_FREQ_LOW;
  GPIO_InitStruct.OutputType = LL_GPIO_OUTPUT_PUSHPULL;
  GPIO_InitStruct.Pull = LL_GPIO_PULL_NO;
  LL_GPIO_Init(S1_grn_GPIO_Port, &GPIO_InitStruct);

  /**/
  GPIO_InitStruct.Pin = S1_red_Pin;
  GPIO_InitStruct.Mode = LL_GPIO_MODE_OUTPUT;
  GPIO_InitStruct.Speed = LL_GPIO_SPEED_FREQ_LOW;
  GPIO_InitStruct.OutputType = LL_GPIO_OUTPUT_PUSHPULL;
  GPIO_InitStruct.Pull = LL_GPIO_PULL_NO;
  LL_GPIO_Init(S1_red_GPIO_Port, &GPIO_InitStruct);

  /**/
  GPIO_InitStruct.Pin = SHIFT_LD_Pin;
  GPIO_InitStruct.Mode = LL_GPIO_MODE_OUTPUT;
  GPIO_InitStruct.Speed = LL_GPIO_SPEED_FREQ_LOW;
  GPIO_InitStruct.OutputType = LL_GPIO_OUTPUT_PUSHPULL;
  GPIO_InitStruct.Pull = LL_GPIO_PULL_NO;
  LL_GPIO_Init(SHIFT_LD_GPIO_Port, &GPIO_InitStruct);

  /**/
  GPIO_InitStruct.Pin = BUS_EN_Pin;
  GPIO_InitStruct.Mode = LL_GPIO_MODE_INPUT;
  GPIO_InitStruct.Pull = LL_GPIO_PULL_NO;
  LL_GPIO_Init(BUS_EN_GPIO_Port, &GPIO_InitStruct);

  /**/
  GPIO_InitStruct.Pin = SUPP_2_PG_Pin;
  GPIO_InitStruct.Mode = LL_GPIO_MODE_INPUT;
  GPIO_InitStruct.Pull = LL_GPIO_PULL_UP;
  LL_GPIO_Init(SUPP_2_PG_GPIO_Port, &GPIO_InitStruct);

  /**/
  GPIO_InitStruct.Pin = SUPP_3_PG_Pin;
  GPIO_InitStruct.Mode = LL_GPIO_MODE_INPUT;
  GPIO_InitStruct.Pull = LL_GPIO_PULL_UP;
  LL_GPIO_Init(SUPP_3_PG_GPIO_Port, &GPIO_InitStruct);

  /**/
  GPIO_InitStruct.Pin = BUS_PG_Pin;
  GPIO_InitStruct.Mode = LL_GPIO_MODE_INPUT;
  GPIO_InitStruct.Pull = LL_GPIO_PULL_UP;
  LL_GPIO_Init(BUS_PG_GPIO_Port, &GPIO_InitStruct);

  /**/
  GPIO_InitStruct.Pin = BUS_CTL_Pin;
  GPIO_InitStruct.Mode = LL_GPIO_MODE_OUTPUT;
  GPIO_InitStruct.Speed = LL_GPIO_SPEED_FREQ_LOW;
  GPIO_InitStruct.OutputType = LL_GPIO_OUTPUT_PUSHPULL;
  GPIO_InitStruct.Pull = LL_GPIO_PULL_NO;
  LL_GPIO_Init(BUS_CTL_GPIO_Port, &GPIO_InitStruct);

  /**/
  GPIO_InitStruct.Pin = OE_CTL_Pin;
  GPIO_InitStruct.Mode = LL_GPIO_MODE_OUTPUT;
  GPIO_InitStruct.Speed = LL_GPIO_SPEED_FREQ_LOW;
  GPIO_InitStruct.OutputType = LL_GPIO_OUTPUT_PUSHPULL;
  GPIO_InitStruct.Pull = LL_GPIO_PULL_NO;
  LL_GPIO_Init(OE_CTL_GPIO_Port, &GPIO_InitStruct);

  /**/
  GPIO_InitStruct.Pin = DEMUX_OE_Pin;
  GPIO_InitStruct.Mode = LL_GPIO_MODE_INPUT;
  GPIO_InitStruct.Pull = LL_GPIO_PULL_NO;
  LL_GPIO_Init(DEMUX_OE_GPIO_Port, &GPIO_InitStruct);

  /**/
  GPIO_InitStruct.Pin = LED1_Pin;
  GPIO_InitStruct.Mode = LL_GPIO_MODE_OUTPUT;
  GPIO_InitStruct.Speed = LL_GPIO_SPEED_FREQ_LOW;
  GPIO_InitStruct.OutputType = LL_GPIO_OUTPUT_PUSHPULL;
  GPIO_InitStruct.Pull = LL_GPIO_PULL_NO;
  LL_GPIO_Init(LED1_GPIO_Port, &GPIO_InitStruct);

  /**/
  GPIO_InitStruct.Pin = DEMUX_S0_CTL_Pin;
  GPIO_InitStruct.Mode = LL_GPIO_MODE_OUTPUT;
  GPIO_InitStruct.Speed = LL_GPIO_SPEED_FREQ_LOW;
  GPIO_InitStruct.OutputType = LL_GPIO_OUTPUT_PUSHPULL;
  GPIO_InitStruct.Pull = LL_GPIO_PULL_NO;
  LL_GPIO_Init(DEMUX_S0_CTL_GPIO_Port, &GPIO_InitStruct);

  /**/
  GPIO_InitStruct.Pin = S3_red_Pin;
  GPIO_InitStruct.Mode = LL_GPIO_MODE_OUTPUT;
  GPIO_InitStruct.Speed = LL_GPIO_SPEED_FREQ_LOW;
  GPIO_InitStruct.OutputType = LL_GPIO_OUTPUT_PUSHPULL;
  GPIO_InitStruct.Pull = LL_GPIO_PULL_NO;
  LL_GPIO_Init(S3_red_GPIO_Port, &GPIO_InitStruct);

  /**/
  GPIO_InitStruct.Pin = S3_grn_Pin;
  GPIO_InitStruct.Mode = LL_GPIO_MODE_OUTPUT;
  GPIO_InitStruct.Speed = LL_GPIO_SPEED_FREQ_LOW;
  GPIO_InitStruct.OutputType = LL_GPIO_OUTPUT_PUSHPULL;
  GPIO_InitStruct.Pull = LL_GPIO_PULL_NO;
  LL_GPIO_Init(S3_grn_GPIO_Port, &GPIO_InitStruct);

  /**/
  GPIO_InitStruct.Pin = S2_red_Pin;
  GPIO_InitStruct.Mode = LL_GPIO_MODE_OUTPUT;
  GPIO_InitStruct.Speed = LL_GPIO_SPEED_FREQ_LOW;
  GPIO_InitStruct.OutputType = LL_GPIO_OUTPUT_PUSHPULL;
  GPIO_InitStruct.Pull = LL_GPIO_PULL_NO;
  LL_GPIO_Init(S2_red_GPIO_Port, &GPIO_InitStruct);

  /**/
  GPIO_InitStruct.Pin = S2_grn_Pin;
  GPIO_InitStruct.Mode = LL_GPIO_MODE_OUTPUT;
  GPIO_InitStruct.Speed = LL_GPIO_SPEED_FREQ_LOW;
  GPIO_InitStruct.OutputType = LL_GPIO_OUTPUT_PUSHPULL;
  GPIO_InitStruct.Pull = LL_GPIO_PULL_NO;
  LL_GPIO_Init(S2_grn_GPIO_Port, &GPIO_InitStruct);

/* USER CODE BEGIN MX_GPIO_Init_2 */
  LL_GPIO_SetOutputPin(SHIFT_LD_GPIO_Port, SHIFT_LD_Pin);
/* USER CODE END MX_GPIO_Init_2 */
}

/* USER CODE BEGIN 4 */

void set_bus_state(bool state) {
  bus_enable = state ? 1 : 0;
}
void set_pc_state(bool state) {
  pc_enable = state ? 1 : 0;
}

USR_IO_State user_read_io(void)
{
  USR_IO_State ret = {0};

  LL_GPIO_ResetOutputPin(SHIFT_LD_GPIO_Port, SHIFT_LD_Pin);
  micros_delay(2);
  LL_GPIO_SetOutputPin(SHIFT_LD_GPIO_Port, SHIFT_LD_Pin);

  uint8_t SPI_RX = 0;
  HAL_SPI_Receive(&hspi2, &SPI_RX, 1, 1000);

  for( uint8_t i = 0; i < 8; i++ )
  {
    ret.state[i] = (SPI_RX & ( 1 << i )) >> i;
  }

  return ret;
}

uint8_t user_write_io(uint8_t usr_io, uint8_t value)
{
  uint32_t channel = 0;
  if( usr_io < 4 )
  {
    switch( usr_io ){
    case 0:
      channel = 0x0C;
      break;
    case 1:
      channel = 0x08;
      break;
    case 2:
      channel = 0x04;
      break;
    case 3:
      channel = 0x00;
      break;
    }

    __HAL_TIM_SET_COMPARE(&htim3, channel, value);

    return 0;
  }
  else if( usr_io >= 4 && usr_io < 8 )
  {
    channel = ( usr_io - 4 )*4;

    __HAL_TIM_SET_COMPARE(&htim8, channel, value);

    return 0;
  }
  else
  {
    return 1;
  }
}

char uart_tx_buffer[256];
void UART2_printf(const char * format, ...)
{

  va_list args;
  va_start(args, format);
  int len = vsnprintf(uart_tx_buffer, sizeof(uart_tx_buffer), format, args);
  va_end(args);

  if (len > 0) {
      HAL_UART_Transmit_DMA(&huart2, (uint8_t*)uart_tx_buffer, len);
  }
}

void HAL_TIM_PeriodElapsedCallback(TIM_HandleTypeDef *htim)
{
  if( htim->Instance == TIM7 )
  {
    TIM7_ITs++;
  }
  else if (htim->Instance == TIM1) {
    HAL_GPIO_TogglePin(LED1_GPIO_Port, LED1_Pin);
  }
}

#if defined ( __ICCARM__ ) /*!< IAR Compiler */
#pragma optimize s=none
uint64_t micros_64()
#elif defined ( __GNUC__ ) /*!< GNU Compiler */
uint64_t __attribute__((optimize("O0"))) micros_64()
#endif
{
  return (uint64_t)(__HAL_TIM_GET_COUNTER(&htim7) + 50000u * TIM7_ITs);
}

#if defined ( __ICCARM__ ) /*!< IAR Compiler */
#pragma optimize s=none
void micros_delay( uint64_t delay )
#elif defined ( __GNUC__ ) /*!< GNU Compiler */
void __attribute__((optimize("O0"))) micros_delay( uint64_t delay )
#endif
{
  uint64_t timestamp = micros_64();
  while( micros_64() < timestamp + delay );
}
/* USER CODE END 4 */

void Error_Handler(void)
{
  /* USER CODE BEGIN Error_Handler_Debug */
  LL_GPIO_SetOutputPin(OE_CTL_GPIO_Port, OE_CTL_Pin); // reset channels output control
  LL_GPIO_ResetOutputPin(BUS_CTL_GPIO_Port, BUS_CTL_Pin); // disable power bus

  LL_GPIO_SetOutputPin(S1_red_GPIO_Port, S1_red_Pin);
  LL_GPIO_SetOutputPin(S2_red_GPIO_Port, S2_red_Pin);
  LL_GPIO_SetOutputPin(S3_red_GPIO_Port, S3_red_Pin);

  LL_GPIO_SetOutputPin(S1_grn_GPIO_Port, S1_grn_Pin);
  LL_GPIO_SetOutputPin(S2_grn_GPIO_Port, S2_grn_Pin);
  LL_GPIO_SetOutputPin(S3_grn_GPIO_Port, S3_grn_Pin);

  UART2_printf("Error handler called, terminating.\r\n");
  /* User can add his own implementation to report the HAL error return state */
  __disable_irq();
  while (1)
  {
  }
  /* USER CODE END Error_Handler_Debug */
}
